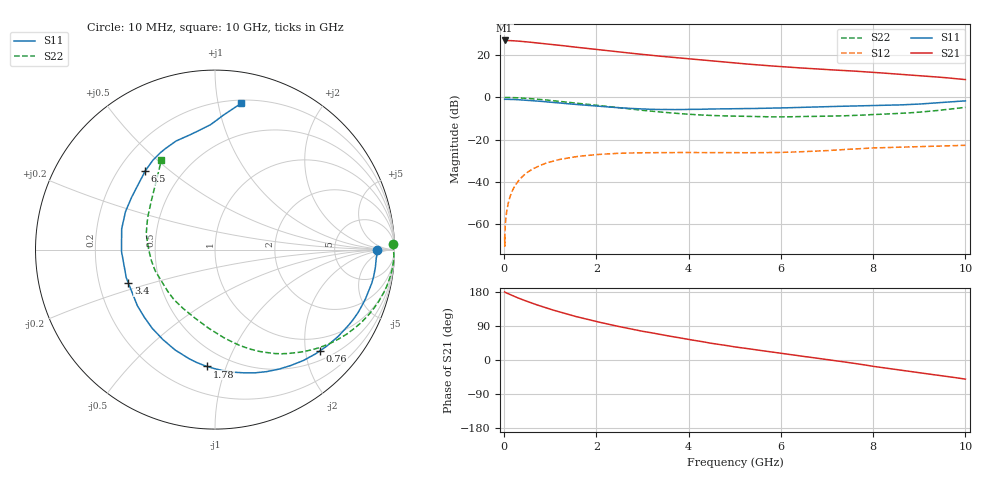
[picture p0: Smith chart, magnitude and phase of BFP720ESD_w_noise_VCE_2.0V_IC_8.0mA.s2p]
! Infineon Technologies  Discrete & RF Semiconductors
! BFP720ESD
! VCE =  2.0 V,  IC =  8.0 mA
! Common Emitter S-Parameters:  Jan 2016
# GHz  S  MA  R  50
!  f  S11  S21  S12  S22
! GHz  MAG  ANG  MAG  ANG  MAG  ANG  MAG  ANG
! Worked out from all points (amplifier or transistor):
!   233 points, 10 MHz to 10 GHz, reference 50 ohm
!   highest |S21| = 27.0 dB at 10 MHz (marker M1)
!   |S21| within 3 dB of that: start of sweep to 1.481 GHz
!   unconditionally stable (mu >= 1): 5.328 GHz to 9.162 GHz
!   at 200 MHz: K = 0.06, MSG = 35.0 dB, |S12| = -43.2 dB
!   at 1.74 GHz: K = 0.35, MSG = 25.5 dB, |S12| = -27.6 dB
!   at 10 GHz: K = 0.73, MSG = 15.6 dB, |S12| = -22.7 dB
!   lowest NFmin = 0.62 dB at 450 MHz
!   S11 on the Smith chart (normalised r, x): 10 MHz: 19, -1; 760 MHz: 0.69, -2.30; 1.78 GHz: 0.38, -0.86; 3.4 GHz: 0.33, -0.17; 6.5 GHz: 0.31, +0.41; 10 GHz: 0.23, +1.17
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0.01  0.9012 -0.2  22.32 179.5  0.0005 -27.2  0.9899 1.8
0.015  0.9026 -0.7  22.25 179.1  0.0003 58.6  0.9922 0.7
0.025  0.9032 -1.5  22.16 178.3  0.001 93.9  0.9952 -0.6
0.105  0.8988 -6.4  22.19 174.2  0.0037 85.3  0.9963 -4.1
0.26  0.8858 -15.7  21.67 165.8  0.0089 80.1  0.9835 -10.3
0.4  0.8705 -23.9  21.1 159.1  0.0135 75.1  0.9646 -15.6
0.6  0.8395 -35.2  20.13 150.0  0.0196 68.1  0.9308 -22.8
0.76  0.8124 -44.0  19.32 143.5  0.024 63.0  0.8996 -28.2
0.94  0.7818 -53.6  18.44 136.3  0.0284 57.5  0.8628 -34.0
1.2  0.7384 -67.0  17.17 126.7  0.0339 50.4  0.8074 -41.9
1.68  0.6653 -89.5  14.94 110.8  0.041 39.3  0.7102 -54.5
1.78  0.6525 -93.9  14.49 107.9  0.0421 37.4  0.6924 -56.9
2.2  0.6018 -111.7  12.91 96.0  0.0457 30.0  0.6185 -66.5
2.6  0.5611 -128.5  11.59 85.4  0.0479 23.8  0.5515 -75.5
3  0.5336 -144.2  10.43 75.8  0.0489 19.2  0.4949 -84.0
3.4  0.5174 -158.7  9.426 67.1  0.0492 15.6  0.4501 -92.1
4  0.5209 -178.9  8.224 54.1  0.0496 11.5  0.3999 -105.5
5.1  0.542 155.1  6.394 33.0  0.0491 7.4  0.3581 -131.0
6.5  0.5861 131.5  4.932 9.3  0.052 8.2  0.3536 -160.5
6.8  0.5973 127.4  4.698 4.5  0.0538 8.3  0.3562 -166.4
8.4  0.6547 102.2  3.646 -23.7  0.0655 1.5  0.4094 157.1
10  0.8272 79.9  2.642 -50.5  0.0735 -7.5  0.5815 121.0
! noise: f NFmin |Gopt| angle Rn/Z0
0.45  0.62  0.34  4  0.12
0.9  0.66  0.33  11  0.14
1.9  0.68  0.28  27  0.13
2.4  0.71  0.26  32  0.13
5.5  0.88  0.04  109  0.09
10  1.4  0.52  -95  0.36
